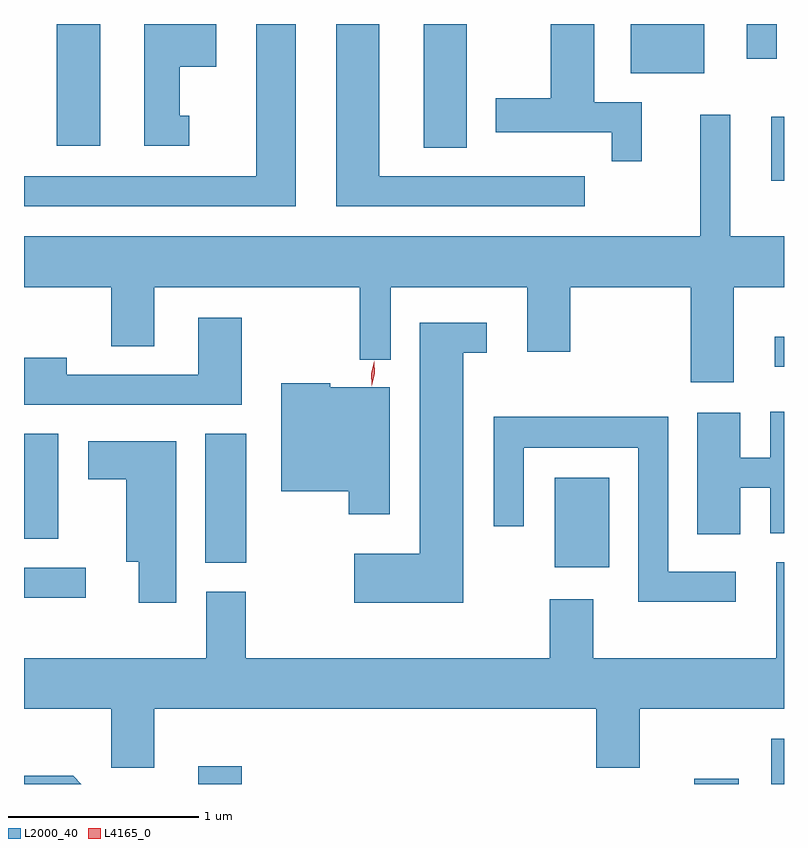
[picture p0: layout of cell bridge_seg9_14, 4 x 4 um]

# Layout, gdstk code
import gdstk
lib = gdstk.Library(unit=1e-6, precision=1e-09)
def R(c, l, rs):  # rectangles x0, y0, x1, y1
    for r in rs: c.add(gdstk.rectangle(r[:2], r[2:], *l))
def P(c, l, *ps):  # polygons
    for p in ps: c.add(gdstk.Polygon(p, *l))
L2000_40 = (2000, 40)
L4165_0 = (4165, 0)

bridge_seg9_14 = lib.new_cell('bridge_seg9_14')
R(bridge_seg9_14, L2000_40, [(1721.511,2024.721,1721.739,2024.814), (1724.121,2024.721,1724.354,2024.749), (1724.526,2024.721,1724.593,2024.959), (1720.593,2025.701,1720.918,2025.859), (1723.386,2025.861,1723.674,2026.334), (1721.546,2025.886,1721.764,2026.564), (1720.593,2026.011,1720.774,2026.564), (1724.543,2026.916,1724.593,2027.074), (1724.526,2027.896,1724.593,2028.234), (1722.696,2028.071,1722.924,2028.721), (1720.766,2028.081,1720.994,2028.721), (1723.786,2028.461,1724.174,2028.721), (1724.396,2028.538,1724.554,2028.721)])
P(bridge_seg9_14, L2000_40, [(1723.543,2027.919),(1722.464,2027.919),(1722.464,2028.721),(1722.236,2028.721),(1722.236,2027.761),(1723.543,2027.761)],
  [(1723.844,2028.309),(1723.594,2028.309),(1723.594,2028.721),(1723.366,2028.721),(1723.366,2028.329),(1723.076,2028.329),(1723.076,2028.151),(1723.686,2028.151),(1723.686,2027.998),(1723.844,2027.998)],
  [(1721.463,2028.239),(1721.414,2028.239),(1721.414,2028.496),(1721.604,2028.496),(1721.604,2028.721),(1721.226,2028.721),(1721.226,2028.081),(1721.463,2028.081)],
  [(1722.024,2028.721),(1721.816,2028.721),(1721.816,2027.919),(1720.593,2027.919),(1720.593,2027.761),(1722.024,2027.761)],
  [(1724.329,2027.336),(1724.593,2027.336),(1724.593,2027.604),(1724.309,2027.604),(1724.309,2028.243),(1724.151,2028.243),(1724.151,2027.604),(1720.593,2027.604),(1720.593,2027.336),(1721.051,2027.336),(1721.051,2027.026),(1721.279,2027.026),(1721.279,2027.336),(1722.361,2027.336),(1722.361,2026.953),(1722.524,2026.953),(1722.524,2027.336),(1723.241,2027.336),(1723.241,2026.996),(1723.469,2026.996),(1723.469,2027.336),(1724.101,2027.336),(1724.101,2026.836),(1724.329,2026.836)],
  [(1721.739,2027.174),(1721.511,2027.174),(1721.511,2026.874),(1720.819,2026.874),(1720.819,2026.964),(1720.593,2026.964),(1720.593,2026.716),(1721.739,2026.716)],
  [(1722.904,2026.991),(1723.028,2026.991),(1723.028,2027.149),(1722.676,2027.149),(1722.676,2025.934),(1722.331,2025.934),(1722.331,2025.676),(1722.904,2025.676)],
  [(1722.519,2026.809),(1722.204,2026.809),(1722.204,2026.829),(1721.946,2026.829),(1721.946,2026.261),(1722.301,2026.261),(1722.301,2026.141),(1722.519,2026.141)],
  [(1724.364,2026.281),(1724.521,2026.281),(1724.521,2026.041),(1724.593,2026.041),(1724.593,2026.679),(1724.521,2026.679),(1724.521,2026.439),(1724.364,2026.439),(1724.364,2026.674),(1724.136,2026.674),(1724.136,2026.036),(1724.364,2026.036)],
  [(1724.338,2025.839),(1723.984,2025.839),(1723.984,2026.654),(1723.066,2026.654),(1723.066,2026.078),(1723.224,2026.078),(1723.224,2026.491),(1723.826,2026.491),(1723.826,2025.681),(1724.338,2025.681)],
  [(1721.394,2026.524),(1720.931,2026.524),(1720.931,2026.326),(1721.131,2026.326),(1721.131,2025.891),(1721.196,2025.891),(1721.196,2025.676),(1721.394,2025.676)],
  [(1721.279,2025.116),(1723.606,2025.116),(1723.606,2024.806),(1723.834,2024.806),(1723.834,2025.116),(1724.593,2025.116),(1724.593,2025.889),(1724.551,2025.889),(1724.551,2025.384),(1723.589,2025.384),(1723.589,2025.694),(1723.361,2025.694),(1723.361,2025.384),(1721.759,2025.384),(1721.759,2025.734),(1721.551,2025.734),(1721.551,2025.384),(1720.593,2025.384),(1720.593,2025.116),(1721.051,2025.116),(1721.051,2024.806),(1721.279,2024.806)],
  [(1720.852,2024.764),(1720.593,2024.764),(1720.593,2024.721),(1720.895,2024.721)])
P(bridge_seg9_14, L4165_0, [(1722.424,2026.817),(1722.423,2026.818),(1722.42,2026.883),(1722.436,2026.947),(1722.436,2026.947),(1722.437,2026.947),(1722.44,2026.881),(1722.424,2026.818)])

lib.write_gds('bridge_seg9_14.gds')
